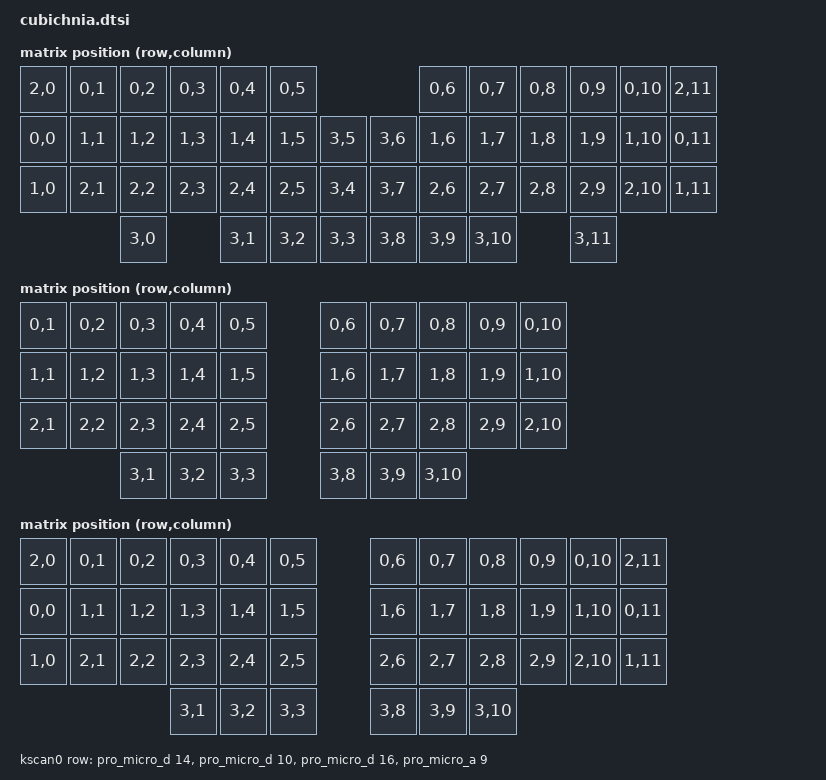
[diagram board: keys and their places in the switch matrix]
/* SPDX-License-Identifier: MIT */

#include <dt-bindings/zmk/matrix_transform.h>

/ {
	chosen {
		zmk,kscan = &kscan0;
		zmk,matrix_transform = &default_transform;
	};

	default_transform: default_transform {
		compatible = "zmk,matrix-transform";
		columns = <12>;
		rows    = < 4>;
		// | f3 | e1 | d1 | c1 | b1 | a1 |              | a1 | b1 | c1 | d1 | e1 | f3 |
		// | f1 | e2 | d2 | c2 | b2 | a2 | a4 |    | a4 | a2 | b2 | c2 | d2 | e2 | f1 |
		// | f2 | e3 | d3 | c3 | b3 | a3 | b4 |    | b4 | a3 | b3 | c3 | d3 | e3 | f2 |
		//           | f4 |    | e4 | d4 | c4 |    | c4 | d4 | e4 |    | f4 |          
		map = <
			RC(2,0) RC(0,1) RC(0,2) RC(0,3) RC(0,4) RC(0,5)                    RC(0,6) RC(0, 7) RC(0,8) RC(0, 9) RC(0,10) RC(2,11)
			RC(0,0) RC(1,1) RC(1,2) RC(1,3) RC(1,4) RC(1,5) RC(3,5)    RC(3,6) RC(1,6) RC(1, 7) RC(1,8) RC(1, 9) RC(1,10) RC(0,11)
			RC(1,0) RC(2,1) RC(2,2) RC(2,3) RC(2,4) RC(2,5) RC(3,4)    RC(3,7) RC(2,6) RC(2, 7) RC(2,8) RC(2, 9) RC(2,10) RC(1,11)
			                RC(3,0)         RC(3,1) RC(3,2) RC(3,3)    RC(3,8) RC(3,9) RC(3,10)         RC(3,11)                  
		>;
	};

	split_3x5_3_transform: split3x5_3_transform {
		compatible = "zmk,matrix-transform";
		columns = <12>;
		rows    = < 4>;
		// | e1 | d1 | c1 | b1 | a1 |    | a1 | b1 | c1 | d1 | e1 |
		// | e2 | d2 | c2 | b2 | a2 |    | a2 | b2 | c2 | d2 | e2 |
		// | e3 | d3 | c3 | b3 | a3 |    | a3 | b3 | c3 | d3 | e3 |
		//           | e4 | d4 | c4 |    | c4 | d4 | e4 |          
		map = <
			RC(0,1) RC(0,2) RC(0,3) RC(0,4) RC(0,5)    RC(0,6) RC(0, 7) RC(0,8) RC(0, 9) RC(0,10)
			RC(1,1) RC(1,2) RC(1,3) RC(1,4) RC(1,5)    RC(1,6) RC(1, 7) RC(1,8) RC(1, 9) RC(1,10)
			RC(2,1) RC(2,2) RC(2,3) RC(2,4) RC(2,5)    RC(2,6) RC(2, 7) RC(2,8) RC(2, 9) RC(2,10)
			                RC(3,1) RC(3,2) RC(3,3)    RC(3,8) RC(3,9) RC(3,10)                  
		>;
	};

	split_3x6_3_transform: split3x6_3_transform {
		compatible = "zmk,matrix-transform";
		columns = <12>;
		rows    = < 4>;
		// | f3 | e1 | d1 | c1 | b1 | a1 |    | a1 | b1 | c1 | d1 | e1 | f3 |
		// | f1 | e2 | d2 | c2 | b2 | a2 |    | a2 | b2 | c2 | d2 | e2 | f1 |
		// | f2 | e3 | d3 | c3 | b3 | a3 |    | a3 | b3 | c3 | d3 | e3 | f2 |
		//                | e4 | d4 | c4 |    | c4 | d4 | e4 |               
		map = <
			RC(2,0) RC(0,1) RC(0,2) RC(0,3) RC(0,4) RC(0,5)    RC(0,6) RC(0, 7) RC(0,8) RC(0, 9) RC(0,10) RC(2,11)
			RC(0,0) RC(1,1) RC(1,2) RC(1,3) RC(1,4) RC(1,5)    RC(1,6) RC(1, 7) RC(1,8) RC(1, 9) RC(1,10) RC(0,11)
			RC(1,0) RC(2,1) RC(2,2) RC(2,3) RC(2,4) RC(2,5)    RC(2,6) RC(2, 7) RC(2,8) RC(2, 9) RC(2,10) RC(1,11)
			                        RC(3,1) RC(3,2) RC(3,3)    RC(3,8) RC(3,9) RC(3,10)                           
		>;
	};

	ortho_4x12_transform: ortho4x12_transform {
		compatible = "zmk,matrix-transform";
		columns = <12>;
		rows    = < 4>;
		// | f3 | e1 | d1 | c1 | b1 | a1 || a1 | b1 | c1 | d1 | e1 | f3 |
		// | f1 | e2 | d2 | c2 | b2 | a2 || a2 | b2 | c2 | d2 | e2 | f1 |
		// | f2 | e3 | d3 | c3 | b3 | a3 || a3 | b3 | c3 | d3 | e3 | f2 |
		// | a4 | b4 | f4 | e4 | d4 | c4 || c4 | d4 | e4 | f4 | b4 | a4 |
		map = <
			RC(2,0) RC(0,1) RC(0,2) RC(0,3) RC(0,4) RC(0,5)  RC(0,6) RC(0,7) RC(0, 8) RC(0, 9) RC(0,10) RC(2,11)
			RC(0,0) RC(1,1) RC(1,2) RC(1,3) RC(1,4) RC(1,5)  RC(1,6) RC(1,7) RC(1, 8) RC(1, 9) RC(1,10) RC(0,11)
			RC(1,0) RC(2,1) RC(2,2) RC(2,3) RC(2,4) RC(2,5)  RC(2,6) RC(2,7) RC(2, 8) RC(2, 9) RC(2,10) RC(1,11)
			RC(3,5) RC(3,4) RC(3,0) RC(3,1) RC(3,2) RC(3,3)  RC(3,8) RC(3,9) RC(3,10) RC(3,11) RC(3, 7) RC(3, 6)
		>;
	};

	ichnite_transform: ichnite_transform {
		compatible = "zmk,matrix-transform";
		columns = <12>;
		rows    = < 4>;
		// | e1 | d1 | c1 | b1 | a1 |              | a1 | b1 | c1 | d1 | e1 |
		// | e2 | d2 | c2 | b2 | a2 | a4 |    | a4 | a2 | b2 | c2 | d2 | e2 |
		// | e3 | d3 | c3 | b3 | a3 | b4 |    | b4 | a3 | b3 | c3 | d3 | e3 |
		//                | e4 | d4 | c4 |    | c4 | d4 | e4 |               
		map = <
			RC(0,1) RC(0,2) RC(0,3) RC(0,4) RC(0,5)                    RC(0,6) RC(0, 7) RC(0,8) RC(0, 9) RC(0,10)
			RC(1,1) RC(1,2) RC(1,3) RC(1,4) RC(1,5) RC(3,5)    RC(3,6) RC(1,6) RC(1, 7) RC(1,8) RC(1, 9) RC(1,10)
			RC(2,1) RC(2,2) RC(2,3) RC(2,4) RC(2,5) RC(3,4)    RC(3,7) RC(2,6) RC(2, 7) RC(2,8) RC(2, 9) RC(2,10)
			                        RC(3,1) RC(3,2) RC(3,3)    RC(3,8) RC(3,9) RC(3,10)                          
		>;
	};

	kscan0: kscan {
		compatible = "zmk,kscan-gpio-matrix";
		label = "KSCAN";

		diode-direction = "col2row";
		row-gpios
			= <&pro_micro_d 14 (GPIO_ACTIVE_HIGH | GPIO_PULL_DOWN)>
			, <&pro_micro_d 10 (GPIO_ACTIVE_HIGH | GPIO_PULL_DOWN)>
			, <&pro_micro_d 16 (GPIO_ACTIVE_HIGH | GPIO_PULL_DOWN)>
			, <&pro_micro_a  9 (GPIO_ACTIVE_HIGH | GPIO_PULL_DOWN)>
			;
	};
};
